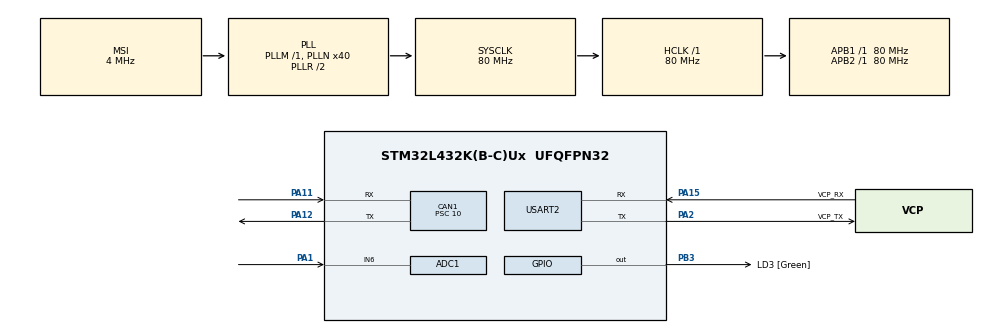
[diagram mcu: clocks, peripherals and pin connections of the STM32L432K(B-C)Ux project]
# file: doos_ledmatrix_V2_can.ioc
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ADC1.Channel-0\#ChannelRegularConversion=ADC_CHANNEL_6
ADC1.NbrOfConversionFlag=1
ADC1.OffsetNumber-0\#ChannelRegularConversion=ADC_OFFSET_NONE
ADC1.Rank-0\#ChannelRegularConversion=1
ADC1.SamplingTime-0\#ChannelRegularConversion=ADC_SAMPLETIME_2CYCLES_5
ADC1.master=1
CAN1.ABOM=ENABLE
CAN1.BS1=CAN_BS1_13TQ
CAN1.BS2=CAN_BS2_2TQ
CAN1.CalculateBaudRate=500000
CAN1.CalculateTimeBit=2000
CAN1.CalculateTimeQuantum=125.0
CAN1.NART=ENABLE
CAN1.Prescaler=10
Mcu.Family=STM32L4
Mcu.Name=STM32L432K(B-C)Ux
Mcu.Package=UFQFPN32
NVIC.CAN1_RX0_IRQn=true\:0\:0\:false\:false\:true\:true\:true\:true
NVIC.PriorityGroup=NVIC_PRIORITYGROUP_4
PA0.GPIO_Label=MCO [High speed clock in]
PA0.Mode=HSE-External-Clock-Source-for-LittleOrca
PA0.Signal=RCC_CK_IN
PA1.Signal=ADCx_IN6
PA11.GPIO_PuPd=GPIO_PULLUP
PA11.Mode=CAN_Activate
PA11.Signal=CAN1_RX
PA12.Mode=CAN_Activate
PA12.Signal=CAN1_TX
PA13\ (JTMS-SWDIO).GPIO_Label=SWDIO
PA13\ (JTMS-SWDIO).Mode=Serial_Wire
PA13\ (JTMS-SWDIO).Signal=SYS_JTMS-SWDIO
PA14\ (JTCK-SWCLK).GPIO_Label=SWCLK
PA14\ (JTCK-SWCLK).Mode=Serial_Wire
PA14\ (JTCK-SWCLK).Signal=SYS_JTCK-SWCLK
PA15\ (JTDI).GPIO_Label=VCP_RX
PA15\ (JTDI).Mode=Asynchronous
PA15\ (JTDI).Signal=USART2_RX
PA2.GPIO_Label=VCP_TX
PA2.Mode=Asynchronous
PA2.Signal=USART2_TX
PB3\ (JTDO-TRACESWO).GPIO_Label=LD3 [Green]
PB3\ (JTDO-TRACESWO).Signal=GPIO_Output
PC14-OSC32_IN\ (PC14).Mode=LSE-External-Oscillator
PC14-OSC32_IN\ (PC14).Signal=RCC_OSC32_IN
PC15-OSC32_OUT\ (PC15).Mode=LSE-External-Oscillator
PC15-OSC32_OUT\ (PC15).Signal=RCC_OSC32_OUT
ProjectManager.HeapSize=0x200
ProjectManager.StackSize=0x400
ProjectManager.TargetToolchain=STM32CubeIDE
RCC.AHBFreq_Value=80000000
RCC.APB1Freq_Value=80000000
RCC.APB1TimFreq_Value=80000000
RCC.APB2Freq_Value=80000000
RCC.APB2TimFreq_Value=80000000
RCC.CortexFreq_Value=80000000
RCC.HCLKFreq_Value=80000000
RCC.HSE_VALUE=8000000
RCC.HSI16_VALUE=16000000
RCC.HSI48_VALUE=48000000
RCC.HSI_VALUE=16000000
RCC.MSI_VALUE=4000000
RCC.PLLMUL=RCC_PLLMUL_4
RCC.PLLN=40
RCC.SYSCLKFreq_VALUE=80000000
RCC.SYSCLKSource=RCC_SYSCLKSOURCE_PLLCLK
RCC.VCOOutputFreq_Value=160000000
SH.ADCx_IN6.0=ADC1_IN6,IN6-Single-Ended
USART2.VirtualMode-Asynchronous=VM_ASYNC
board=NUCLEO-L432KC

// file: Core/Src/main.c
/* USER CODE BEGIN Header */
/**
  ******************************************************************************
  * @file           : main.c
  * @brief          : Main program body
  ******************************************************************************
  * @attention
  *
  * Copyright (c) 2026 STMicroelectronics.
  * All rights reserved.
  *
  * This software is licensed under terms that can be found in the LICENSE file
  * in the root directory of this software component.
  * If no LICENSE file comes with this software, it is provided AS-IS.
  *
  ******************************************************************************
  */
/* USER CODE END Header */
#include "main.h"

/* USER CODE BEGIN Includes */
#include <stdio.h>
#include <string.h>
/* USER CODE END Includes */

ADC_HandleTypeDef hadc1;

CAN_HandleTypeDef hcan1;

UART_HandleTypeDef huart2;

/* USER CODE BEGIN PV */
uint8_t state = 0;
CAN_RxHeaderTypeDef   rxHeader;
uint8_t               rxData[8];
volatile int datacheck = 0;
/* USER CODE END PV */

void SystemClock_Config(void);
static void MX_GPIO_Init(void);
static void MX_USART2_UART_Init(void);
static void MX_CAN1_Init(void);
static void MX_ADC1_Init(void);
/* USER CODE BEGIN PFP */
void uartPrint(char *msg);
/* USER CODE END PFP */

int main(void)
{

  /* MCU Configuration--------------------------------------------------------*/

  /* Reset of all peripherals, Initializes the Flash interface and the Systick. */
  HAL_Init();

  /* Configure the system clock */
  SystemClock_Config();

  /* Initialize all configured peripherals */
  MX_GPIO_Init();
  MX_USART2_UART_Init();
  MX_CAN1_Init();
  MX_ADC1_Init();
  /* USER CODE BEGIN 2 */
  CAN_FilterTypeDef filter;

  filter.FilterBank = 0;
  filter.FilterMode = CAN_FILTERMODE_IDMASK;
  filter.FilterScale = CAN_FILTERSCALE_32BIT;
  filter.FilterIdHigh = 0;
  filter.FilterIdLow = 0;
  filter.FilterMaskIdHigh = 0;
  filter.FilterMaskIdLow = 0;
  filter.FilterFIFOAssignment = CAN_FILTER_FIFO0;
  filter.FilterActivation = ENABLE;

  HAL_CAN_ConfigFilter(&hcan1, &filter);
  HAL_CAN_Start(&hcan1);
  if (HAL_CAN_ActivateNotification(&hcan1, CAN_IT_RX_FIFO0_MSG_PENDING) != HAL_OK)
  {
	  Error_Handler();
  }
  /* USER CODE END 2 */

  /* Infinite loop */
  /* USER CODE BEGIN WHILE */
  while (1)
  {

	    CAN_TxHeaderTypeDef header;
	    uint32_t mailbox;
	    uint8_t data[1] = {0x11};

	    header.StdId = 0x101;
	    header.IDE = CAN_ID_STD;
	    header.RTR = CAN_RTR_DATA;
	    header.DLC = 1;
	    char msg[] = "CAN verstuurd!\n\r";
	    HAL_UART_Transmit(&huart2, (uint8_t*)msg, strlen(msg), HAL_MAX_DELAY);
	    HAL_Delay(4000);
	    if (HAL_CAN_AddTxMessage(&hcan1, &header, data, &mailbox) != HAL_OK)
	    {
	       Error_Handler ();
	    }

	    HAL_Delay(1000);
	    if (datacheck)
	    {
	    	datacheck = 0;
		    char msg2[] = "CAN ontvangen!\n\0";
		    HAL_UART_Transmit(&huart2, (uint8_t*)msg2, strlen(msg2), HAL_MAX_DELAY);
	    }
    /* USER CODE END WHILE */

  }
}

void SystemClock_Config(void)
{
  RCC_OscInitTypeDef RCC_OscInitStruct = {0};
  RCC_ClkInitTypeDef RCC_ClkInitStruct = {0};

  /** Configure the main internal regulator output voltage
  */
  if (HAL_PWREx_ControlVoltageScaling(PWR_REGULATOR_VOLTAGE_SCALE1) != HAL_OK)
  {
    Error_Handler();
  }

  /** Configure LSE Drive Capability
  */
  HAL_PWR_EnableBkUpAccess();
  __HAL_RCC_LSEDRIVE_CONFIG(RCC_LSEDRIVE_LOW);

  /** Initializes the RCC Oscillators according to the specified parameters
  * in the RCC_OscInitTypeDef structure.
  */
  RCC_OscInitStruct.OscillatorType = RCC_OSCILLATORTYPE_LSE|RCC_OSCILLATORTYPE_MSI;
  RCC_OscInitStruct.LSEState = RCC_LSE_ON;
  RCC_OscInitStruct.MSIState = RCC_MSI_ON;
  RCC_OscInitStruct.MSICalibrationValue = 0;
  RCC_OscInitStruct.MSIClockRange = RCC_MSIRANGE_6;
  RCC_OscInitStruct.PLL.PLLState = RCC_PLL_ON;
  RCC_OscInitStruct.PLL.PLLSource = RCC_PLLSOURCE_MSI;
  RCC_OscInitStruct.PLL.PLLM = 1;
  RCC_OscInitStruct.PLL.PLLN = 40;
  RCC_OscInitStruct.PLL.PLLP = RCC_PLLP_DIV7;
  RCC_OscInitStruct.PLL.PLLQ = RCC_PLLQ_DIV2;
  RCC_OscInitStruct.PLL.PLLR = RCC_PLLR_DIV2;
  if (HAL_RCC_OscConfig(&RCC_OscInitStruct) != HAL_OK)
  {
    Error_Handler();
  }

  /** Initializes the CPU, AHB and APB buses clocks
  */
  RCC_ClkInitStruct.ClockType = RCC_CLOCKTYPE_HCLK|RCC_CLOCKTYPE_SYSCLK
                              |RCC_CLOCKTYPE_PCLK1|RCC_CLOCKTYPE_PCLK2;
  RCC_ClkInitStruct.SYSCLKSource = RCC_SYSCLKSOURCE_PLLCLK;
  RCC_ClkInitStruct.AHBCLKDivider = RCC_SYSCLK_DIV1;
  RCC_ClkInitStruct.APB1CLKDivider = RCC_HCLK_DIV1;
  RCC_ClkInitStruct.APB2CLKDivider = RCC_HCLK_DIV1;

  if (HAL_RCC_ClockConfig(&RCC_ClkInitStruct, FLASH_LATENCY_4) != HAL_OK)
  {
    Error_Handler();
  }

  /** Enable MSI Auto calibration
  */
  HAL_RCCEx_EnableMSIPLLMode();
}

static void MX_ADC1_Init(void)
{

  ADC_ChannelConfTypeDef sConfig = {0};

  /** Common config
  */
  hadc1.Instance = ADC1;
  hadc1.Init.ClockPrescaler = ADC_CLOCK_ASYNC_DIV1;
  hadc1.Init.Resolution = ADC_RESOLUTION_12B;
  hadc1.Init.DataAlign = ADC_DATAALIGN_RIGHT;
  hadc1.Init.ScanConvMode = ADC_SCAN_DISABLE;
  hadc1.Init.EOCSelection = ADC_EOC_SINGLE_CONV;
  hadc1.Init.LowPowerAutoWait = DISABLE;
  hadc1.Init.ContinuousConvMode = DISABLE;
  hadc1.Init.NbrOfConversion = 1;
  hadc1.Init.DiscontinuousConvMode = DISABLE;
  hadc1.Init.ExternalTrigConv = ADC_SOFTWARE_START;
  hadc1.Init.ExternalTrigConvEdge = ADC_EXTERNALTRIGCONVEDGE_NONE;
  hadc1.Init.DMAContinuousRequests = DISABLE;
  hadc1.Init.Overrun = ADC_OVR_DATA_PRESERVED;
  hadc1.Init.OversamplingMode = DISABLE;
  if (HAL_ADC_Init(&hadc1) != HAL_OK)
  {
    Error_Handler();
  }

  /** Configure Regular Channel
  */
  sConfig.Channel = ADC_CHANNEL_6;
  sConfig.Rank = ADC_REGULAR_RANK_1;
  sConfig.SamplingTime = ADC_SAMPLETIME_2CYCLES_5;
  sConfig.SingleDiff = ADC_SINGLE_ENDED;
  sConfig.OffsetNumber = ADC_OFFSET_NONE;
  sConfig.Offset = 0;
  if (HAL_ADC_ConfigChannel(&hadc1, &sConfig) != HAL_OK)
  {
    Error_Handler();
  }

}

static void MX_CAN1_Init(void)
{

  hcan1.Instance = CAN1;
  hcan1.Init.Prescaler = 10;
  hcan1.Init.Mode = CAN_MODE_NORMAL;
  hcan1.Init.SyncJumpWidth = CAN_SJW_1TQ;
  hcan1.Init.TimeSeg1 = CAN_BS1_13TQ;
  hcan1.Init.TimeSeg2 = CAN_BS2_2TQ;
  hcan1.Init.TimeTriggeredMode = DISABLE;
  hcan1.Init.AutoBusOff = ENABLE;
  hcan1.Init.AutoWakeUp = DISABLE;
  hcan1.Init.AutoRetransmission = ENABLE;
  hcan1.Init.ReceiveFifoLocked = DISABLE;
  hcan1.Init.TransmitFifoPriority = DISABLE;
  if (HAL_CAN_Init(&hcan1) != HAL_OK)
  {
    Error_Handler();
  }

}

static void MX_USART2_UART_Init(void)
{

  huart2.Instance = USART2;
  huart2.Init.BaudRate = 115200;
  huart2.Init.WordLength = UART_WORDLENGTH_8B;
  huart2.Init.StopBits = UART_STOPBITS_1;
  huart2.Init.Parity = UART_PARITY_NONE;
  huart2.Init.Mode = UART_MODE_TX_RX;
  huart2.Init.HwFlowCtl = UART_HWCONTROL_NONE;
  huart2.Init.OverSampling = UART_OVERSAMPLING_16;
  huart2.Init.OneBitSampling = UART_ONE_BIT_SAMPLE_DISABLE;
  huart2.AdvancedInit.AdvFeatureInit = UART_ADVFEATURE_NO_INIT;
  if (HAL_UART_Init(&huart2) != HAL_OK)
  {
    Error_Handler();
  }

}

static void MX_GPIO_Init(void)
{
  GPIO_InitTypeDef GPIO_InitStruct = {0};

  /* GPIO Ports Clock Enable */
  __HAL_RCC_GPIOC_CLK_ENABLE();
  __HAL_RCC_GPIOA_CLK_ENABLE();
  __HAL_RCC_GPIOB_CLK_ENABLE();

  /*Configure GPIO pin Output Level */
  HAL_GPIO_WritePin(LD3_GPIO_Port, LD3_Pin, GPIO_PIN_RESET);

  /*Configure GPIO pin : LD3_Pin */
  GPIO_InitStruct.Pin = LD3_Pin;
  GPIO_InitStruct.Mode = GPIO_MODE_OUTPUT_PP;
  GPIO_InitStruct.Pull = GPIO_NOPULL;
  GPIO_InitStruct.Speed = GPIO_SPEED_FREQ_LOW;
  HAL_GPIO_Init(LD3_GPIO_Port, &GPIO_InitStruct);

}

/* USER CODE BEGIN 4 */
void HAL_CAN_RxFifo0MsgPendingCallback(CAN_HandleTypeDef *hcan)
{
  if (HAL_CAN_GetRxMessage(hcan, CAN_RX_FIFO0, &rxHeader, rxData) != HAL_OK)
  {
    Error_Handler();
  }
  if ((rxHeader.StdId == 310))
  {
	  datacheck = 1;
  }
}

/* USER CODE END 4 */

void Error_Handler(void)
{
  __disable_irq();
  while (1)
  {
  }
}
